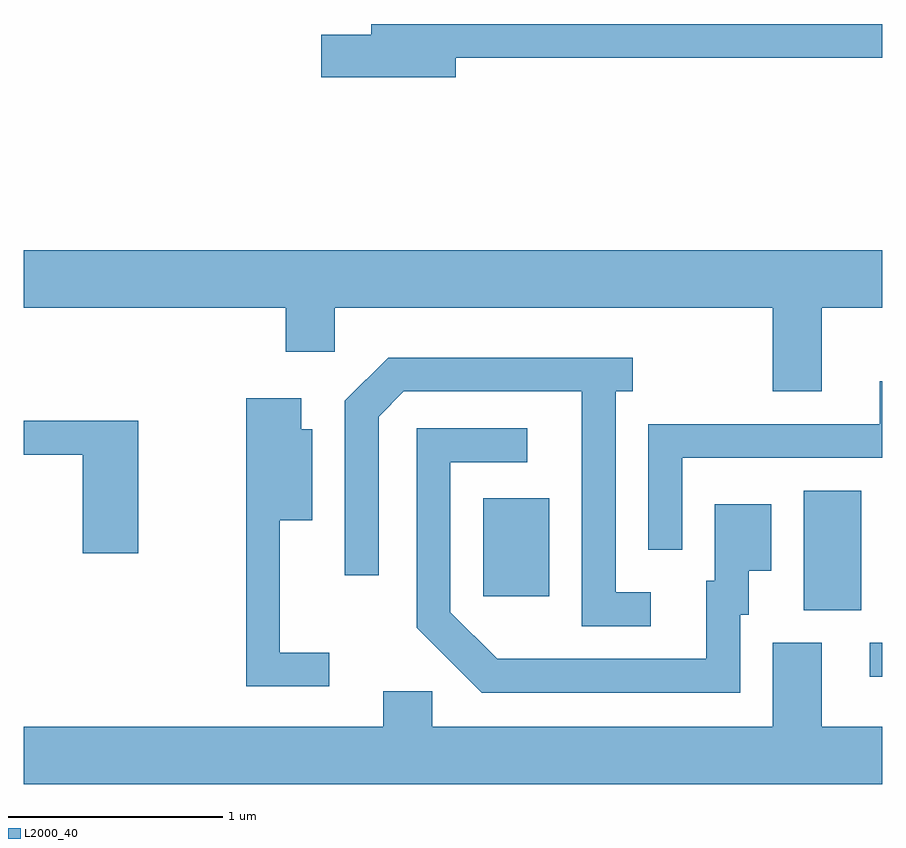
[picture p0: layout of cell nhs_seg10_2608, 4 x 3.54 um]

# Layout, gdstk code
import gdstk
lib = gdstk.Library(unit=1e-6, precision=1e-09)
def R(c, l, rs):  # rectangles x0, y0, x1, y1
    for r in rs: c.add(gdstk.rectangle(r[:2], r[2:], *l))
def P(c, l, *ps):  # polygons
    for p in ps: c.add(gdstk.Polygon(p, *l))
L2000_40 = (2000, 40)

nhs_seg10_2608 = lib.new_cell('nhs_seg10_2608')
R(nhs_seg10_2608, L2000_40, [(265.553,2143.276,265.611,2143.434), (265.246,2143.586,265.514,2144.144), (263.751,2143.651,264.059,2144.109)])
P(nhs_seg10_2608, L2000_40, [(263.624,2146.161),(265.611,2146.161),(265.611,2146.319),(263.231,2146.319),(263.231,2146.269),(262.996,2146.269),(262.996,2146.071),(263.624,2146.071)],
  [(265.329,2144.996),(265.611,2144.996),(265.611,2145.264),(261.611,2145.264),(261.611,2144.996),(262.831,2144.996),(262.831,2144.791),(263.059,2144.791),(263.059,2144.996),(265.101,2144.996),(265.101,2144.606),(265.329,2144.606)],
  [(264.533,2143.669),(264.369,2143.669),(264.369,2144.606),(264.448,2144.606),(264.448,2144.764),(263.309,2144.764),(263.106,2144.562),(263.106,2143.748),(263.264,2143.748),(263.264,2144.489),(263.382,2144.606),(264.211,2144.606),(264.211,2143.511),(264.533,2143.511)],
  [(264.679,2144.296),(265.611,2144.296),(265.611,2144.654),(265.601,2144.654),(265.601,2144.454),(264.521,2144.454),(264.521,2143.868),(264.679,2143.868)],
  [(263.033,2143.389),(262.804,2143.389),(262.804,2144.006),(262.954,2144.006),(262.954,2144.429),(262.904,2144.429),(262.904,2144.574),(262.646,2144.574),(262.646,2143.231),(263.033,2143.231)],
  [(262.144,2144.469),(261.611,2144.469),(261.611,2144.311),(261.886,2144.311),(261.886,2143.851),(262.144,2143.851)],
  [(264.949,2143.566),(264.989,2143.566),(264.989,2143.771),(265.094,2143.771),(265.094,2144.079),(264.831,2144.079),(264.831,2143.724),(264.791,2143.724),(264.791,2143.359),(263.817,2143.359),(263.599,2143.577),(263.599,2144.276),(263.958,2144.276),(263.958,2144.434),(263.441,2144.434),(263.441,2143.504),(263.744,2143.201),(264.949,2143.201)],
  [(265.611,2143.044),(265.329,2143.044),(265.329,2143.434),(265.101,2143.434),(265.101,2143.044),(263.514,2143.044),(263.514,2143.209),(263.286,2143.209),(263.286,2143.044),(261.611,2143.044),(261.611,2142.776),(265.611,2142.776)])

lib.write_gds('nhs_seg10_2608.gds')
